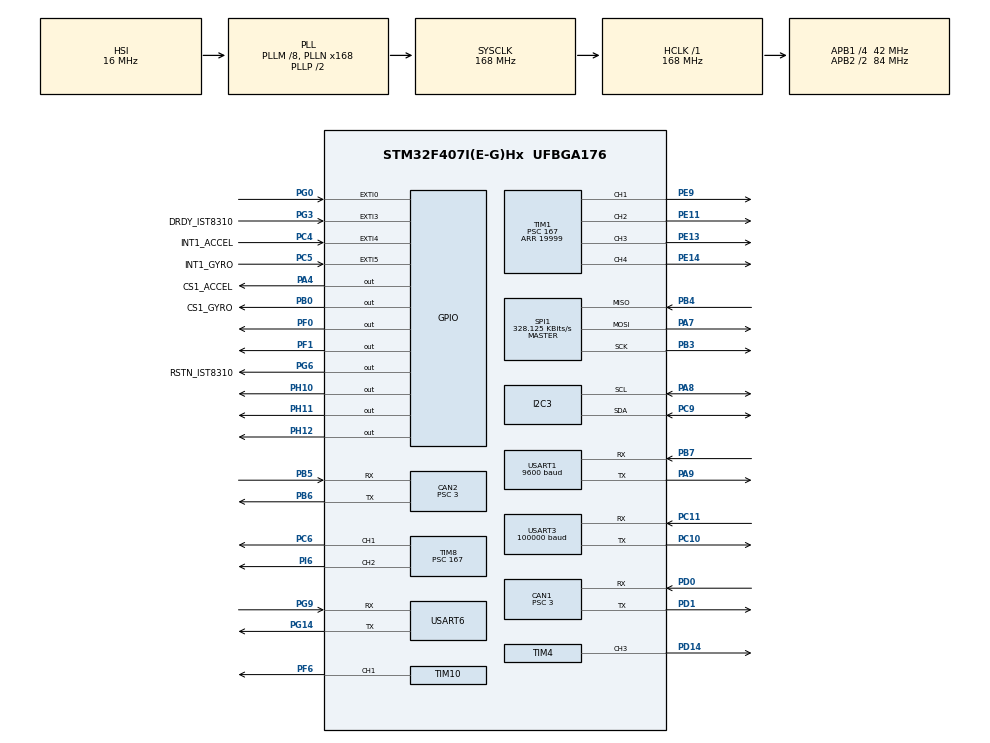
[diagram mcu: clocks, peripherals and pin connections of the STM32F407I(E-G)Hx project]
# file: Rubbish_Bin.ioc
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CAN1.BS1=CAN_BS1_10TQ
CAN1.BS2=CAN_BS2_3TQ
CAN1.CalculateBaudRate=1000000
CAN1.CalculateTimeBit=1000
CAN1.CalculateTimeQuantum=71.42857142857143
CAN1.Prescaler=3
CAN2.BS1=CAN_BS1_10TQ
CAN2.BS2=CAN_BS2_3TQ
CAN2.CalculateBaudRate=1000000
CAN2.CalculateTimeBit=1000
CAN2.CalculateTimeQuantum=71.42857142857143
CAN2.Prescaler=3
Dma.Request0=SPI1_RX
Dma.Request1=SPI1_TX
Dma.Request2=USART1_TX
Dma.Request3=USART3_RX
Dma.Request4=USART6_RX
Dma.SPI1_RX.0.Direction=DMA_PERIPH_TO_MEMORY
Dma.SPI1_RX.0.FIFOMode=DMA_FIFOMODE_DISABLE
Dma.SPI1_RX.0.Instance=DMA2_Stream2
Dma.SPI1_RX.0.MemDataAlignment=DMA_MDATAALIGN_BYTE
Dma.SPI1_RX.0.MemInc=DMA_MINC_ENABLE
Dma.SPI1_RX.0.Mode=DMA_NORMAL
Dma.SPI1_RX.0.PeriphDataAlignment=DMA_PDATAALIGN_BYTE
Dma.SPI1_RX.0.PeriphInc=DMA_PINC_DISABLE
Dma.SPI1_RX.0.Priority=DMA_PRIORITY_VERY_HIGH
Dma.SPI1_TX.1.Direction=DMA_MEMORY_TO_PERIPH
Dma.SPI1_TX.1.FIFOMode=DMA_FIFOMODE_DISABLE
Dma.SPI1_TX.1.Instance=DMA2_Stream3
Dma.SPI1_TX.1.MemDataAlignment=DMA_MDATAALIGN_BYTE
Dma.SPI1_TX.1.MemInc=DMA_MINC_ENABLE
Dma.SPI1_TX.1.Mode=DMA_NORMAL
Dma.SPI1_TX.1.PeriphDataAlignment=DMA_PDATAALIGN_BYTE
Dma.SPI1_TX.1.PeriphInc=DMA_PINC_DISABLE
Dma.SPI1_TX.1.Priority=DMA_PRIORITY_HIGH
Dma.USART1_TX.2.Direction=DMA_MEMORY_TO_PERIPH
Dma.USART1_TX.2.FIFOMode=DMA_FIFOMODE_DISABLE
Dma.USART1_TX.2.Instance=DMA2_Stream7
Dma.USART1_TX.2.MemDataAlignment=DMA_MDATAALIGN_BYTE
Dma.USART1_TX.2.MemInc=DMA_MINC_ENABLE
Dma.USART1_TX.2.Mode=DMA_NORMAL
Dma.USART1_TX.2.PeriphDataAlignment=DMA_PDATAALIGN_BYTE
Dma.USART1_TX.2.PeriphInc=DMA_PINC_DISABLE
Dma.USART1_TX.2.Priority=DMA_PRIORITY_VERY_HIGH
Dma.USART3_RX.3.Direction=DMA_PERIPH_TO_MEMORY
Dma.USART3_RX.3.FIFOMode=DMA_FIFOMODE_DISABLE
Dma.USART3_RX.3.Instance=DMA1_Stream1
Dma.USART3_RX.3.MemDataAlignment=DMA_MDATAALIGN_BYTE
Dma.USART3_RX.3.MemInc=DMA_MINC_ENABLE
Dma.USART3_RX.3.Mode=DMA_CIRCULAR
Dma.USART3_RX.3.PeriphDataAlignment=DMA_PDATAALIGN_BYTE
Dma.USART3_RX.3.PeriphInc=DMA_PINC_DISABLE
Dma.USART3_RX.3.Priority=DMA_PRIORITY_VERY_HIGH
Dma.USART6_RX.4.Direction=DMA_PERIPH_TO_MEMORY
Dma.USART6_RX.4.FIFOMode=DMA_FIFOMODE_DISABLE
Dma.USART6_RX.4.Instance=DMA2_Stream1
Dma.USART6_RX.4.MemDataAlignment=DMA_MDATAALIGN_BYTE
Dma.USART6_RX.4.MemInc=DMA_MINC_ENABLE
Dma.USART6_RX.4.Mode=DMA_NORMAL
Dma.USART6_RX.4.PeriphDataAlignment=DMA_PDATAALIGN_BYTE
Dma.USART6_RX.4.PeriphInc=DMA_PINC_DISABLE
Dma.USART6_RX.4.Priority=DMA_PRIORITY_HIGH
FREERTOS.INCLUDE_eTaskGetState=1
FREERTOS.INCLUDE_pcTaskGetTaskName=1
FREERTOS.INCLUDE_uxTaskGetStackHighWaterMark=1
FREERTOS.INCLUDE_vTaskCleanUpResources=1
FREERTOS.INCLUDE_vTaskDelayUntil=1
FREERTOS.INCLUDE_xEventGroupSetBitFromISR=1
FREERTOS.INCLUDE_xQueueGetMutexHolder=1
FREERTOS.INCLUDE_xSemaphoreGetMutexHolder=1
FREERTOS.INCLUDE_xTaskAbortDelay=1
FREERTOS.INCLUDE_xTaskGetCurrentTaskHandle=1
FREERTOS.INCLUDE_xTaskGetHandle=1
FREERTOS.INCLUDE_xTimerPendFunctionCall=1
FREERTOS.Tasks01=defaultTask,0,128,StartDefaultTask,Default,NULL,Dynamic,NULL,NULL
FREERTOS.configTOTAL_HEAP_SIZE=24576
FREERTOS.configUSE_TIMERS=1
I2C3.I2C_Mode=I2C_Fast
Mcu.Family=STM32F4
Mcu.Name=STM32F407I(E-G)Hx
Mcu.Package=UFBGA176
NVIC.CAN1_RX0_IRQn=true\:5\:0\:false\:false\:true\:true\:true\:true\:true
NVIC.CAN2_RX0_IRQn=true\:5\:0\:false\:false\:true\:true\:true\:true\:true
NVIC.DMA1_Stream1_IRQn=true\:5\:0\:false\:false\:true\:true\:false\:true\:true
NVIC.DMA2_Stream1_IRQn=true\:5\:0\:false\:false\:true\:true\:false\:true\:true
NVIC.DMA2_Stream2_IRQn=true\:5\:0\:true\:false\:true\:true\:false\:true\:true
NVIC.DMA2_Stream3_IRQn=true\:5\:0\:false\:false\:true\:true\:false\:true\:true
NVIC.DMA2_Stream7_IRQn=true\:5\:0\:false\:false\:true\:true\:false\:true\:true
NVIC.EXTI0_IRQn=true\:5\:0\:false\:false\:true\:true\:true\:true\:true
NVIC.EXTI3_IRQn=true\:5\:0\:false\:false\:true\:true\:true\:true\:true
NVIC.EXTI4_IRQn=true\:5\:0\:false\:false\:true\:true\:true\:true\:true
NVIC.EXTI9_5_IRQn=true\:5\:0\:false\:false\:true\:true\:true\:true\:true
NVIC.PriorityGroup=NVIC_PRIORITYGROUP_4
NVIC.USART1_IRQn=true\:5\:0\:false\:false\:true\:true\:true\:true\:true
NVIC.USART3_IRQn=true\:5\:0\:false\:false\:true\:true\:true\:true\:true
NVIC.USART6_IRQn=true\:5\:0\:false\:false\:true\:true\:true\:true\:true
PA13.Mode=Serial_Wire
PA13.Signal=SYS_JTMS-SWDIO
PA14.Mode=Serial_Wire
PA14.Signal=SYS_JTCK-SWCLK
PA4.GPIO_Label=CS1_ACCEL
PA4.GPIO_Speed=GPIO_SPEED_FREQ_HIGH
PA4.PinState=GPIO_PIN_SET
PA4.Signal=GPIO_Output
PA7.Mode=Full_Duplex_Master
PA7.Signal=SPI1_MOSI
PA8.GPIO_Pu=GPIO_PULLUP
PA8.Mode=I2C
PA8.Signal=I2C3_SCL
PA9.Mode=Asynchronous
PA9.Signal=USART1_TX
PB0.GPIO_Label=CS1_GYRO
PB0.GPIO_Speed=GPIO_SPEED_FREQ_HIGH
PB0.PinState=GPIO_PIN_SET
PB0.Signal=GPIO_Output
PB3.Mode=Full_Duplex_Master
PB3.Signal=SPI1_SCK
PB4.Mode=Full_Duplex_Master
PB4.Signal=SPI1_MISO
PB5.Mode=CAN_Activate
PB5.Signal=CAN2_RX
PB6.Mode=CAN_Activate
PB6.Signal=CAN2_TX
PB7.Mode=Asynchronous
PB7.Signal=USART1_RX
PC10.Mode=Asynchronous
PC10.Signal=USART3_TX
PC11.Mode=Asynchronous
PC11.Signal=USART3_RX
PC4.GPIO_Label=INT1_ACCEL
PC4.Signal=GPXTI4
PC5.GPIO_Label=INT1_GYRO
PC5.Signal=GPXTI5
PC6.Signal=S_TIM8_CH1
PC9.GPIO_Pu=GPIO_PULLUP
PC9.Mode=I2C
PC9.Signal=I2C3_SDA
PD0.Mode=CAN_Activate
PD0.Signal=CAN1_RX
PD1.Mode=CAN_Activate
PD1.Signal=CAN1_TX
PD14.GPIO_Speed=GPIO_SPEED_FREQ_HIGH
PD14.Signal=S_TIM4_CH3
PE11.Signal=S_TIM1_CH2
PE13.Signal=S_TIM1_CH3
PE14.Signal=S_TIM1_CH4
PE9.Signal=S_TIM1_CH1
PF0.Signal=GPIO_Output
PF1.Signal=GPIO_Output
PF6.Signal=S_TIM10_CH1
PG0.Signal=GPXTI0
PG14.Mode=Asynchronous
PG14.Signal=USART6_TX
PG3.GPIO_Label=DRDY_IST8310
PG3.Signal=GPXTI3
PG6.GPIO_Label=RSTN_IST8310
PG6.Signal=GPIO_Output
PG9.Mode=Asynchronous
PG9.Signal=USART6_RX
PH0-OSC_IN.Mode=HSE-External-Oscillator
PH0-OSC_IN.Signal=RCC_OSC_IN
PH1-OSC_OUT.Mode=HSE-External-Oscillator
PH1-OSC_OUT.Signal=RCC_OSC_OUT
PH10.Signal=GPIO_Output
PH11.Signal=GPIO_Output
PH12.Signal=GPIO_Output
PI6.Signal=S_TIM8_CH2
ProjectManager.HeapSize=0x200
ProjectManager.StackSize=0x400
ProjectManager.TargetToolchain=MDK-ARM V5.32
RCC.48MHZClocksFreq_Value=84000000
RCC.AHBFreq_Value=168000000
RCC.APB1CLKDivider=RCC_HCLK_DIV4
RCC.APB1Freq_Value=42000000
RCC.APB1TimFreq_Value=84000000
RCC.APB2CLKDivider=RCC_HCLK_DIV2
RCC.APB2Freq_Value=84000000
RCC.APB2TimFreq_Value=168000000
RCC.CortexFreq_Value=168000000
RCC.HCLKFreq_Value=168000000
RCC.HSE_VALUE=25000000
RCC.HSI_VALUE=16000000
RCC.LSE_VALUE=32768
RCC.PLLM=8
RCC.PLLN=168
RCC.SYSCLKFreq_VALUE=168000000
RCC.SYSCLKSource=RCC_SYSCLKSOURCE_PLLCLK
RCC.VCOOutputFreq_Value=336000000
SH.S_TIM10_CH1.0=TIM10_CH1,PWM Generation1 CH1
SH.S_TIM1_CH1.0=TIM1_CH1,PWM Generation1 CH1
SH.S_TIM1_CH2.0=TIM1_CH2,PWM Generation2 CH2
SH.S_TIM1_CH3.0=TIM1_CH3,PWM Generation3 CH3
SH.S_TIM1_CH4.0=TIM1_CH4,PWM Generation4 CH4
SH.S_TIM4_CH3.0=TIM4_CH3,PWM Generation3 CH3
SH.S_TIM8_CH1.0=TIM8_CH1,PWM Generation1 CH1
SH.S_TIM8_CH2.0=TIM8_CH2,PWM Generation2 CH2
SPI1.BaudRatePrescaler=SPI_BAUDRATEPRESCALER_256
SPI1.CLKPhase=SPI_PHASE_2EDGE
SPI1.CLKPolarity=SPI_POLARITY_HIGH
SPI1.CalculateBaudRate=328.125 KBits/s
SPI1.Direction=SPI_DIRECTION_2LINES
SPI1.Mode=SPI_MODE_MASTER
SPI1.VirtualType=VM_MASTER
TIM1.AutoReloadPreload=TIM_AUTORELOAD_PRELOAD_ENABLE
TIM1.Channel-PWM\ Generation1\ CH1=TIM_CHANNEL_1
TIM1.Channel-PWM\ Generation2\ CH2=TIM_CHANNEL_2
TIM1.Channel-PWM\ Generation3\ CH3=TIM_CHANNEL_3
TIM1.Channel-PWM\ Generation4\ CH4=TIM_CHANNEL_4
TIM1.Period=19999
TIM1.Prescaler=167
TIM10.Channel=TIM_CHANNEL_1
TIM10.Period=4999
TIM4.Channel-PWM\ Generation3\ CH3=TIM_CHANNEL_3
TIM4.Prescaler=3
TIM8.AutoReloadPreload=TIM_AUTORELOAD_PRELOAD_ENABLE
TIM8.Channel-PWM\ Generation1\ CH1=TIM_CHANNEL_1
TIM8.Channel-PWM\ Generation2\ CH2=TIM_CHANNEL_2
TIM8.Period=19999
TIM8.Prescaler=167
USART1.BaudRate=9600
USART1.VirtualMode=VM_ASYNC
USART3.BaudRate=100000
USART3.VirtualMode=VM_ASYNC
USART6.VirtualMode=VM_ASYNC
VP_FREERTOS_VS_CMSIS_V1.Mode=CMSIS_V1
VP_TIM10_VS_ClockSourceINT.Mode=Enable_Timer
VP_TIM1_VS_ClockSourceINT.Mode=Internal
VP_TIM4_VS_ClockSourceINT.Mode=Internal
VP_TIM8_VS_ClockSourceINT.Mode=Internal
board=custom

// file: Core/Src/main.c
/* USER CODE BEGIN Header */
/**
  ******************************************************************************
  * @file           : main.c
  * @brief          : Main program body
  ******************************************************************************
  * @attention
  *
  * Copyright (c) 2023 STMicroelectronics.
  * All rights reserved.
  *
  * This software is licensed under terms that can be found in the LICENSE file
  * in the root directory of this software component.
  * If no LICENSE file comes with this software, it is provided AS-IS.
  *
  ******************************************************************************
  */
/* USER CODE END Header */
#include "main.h"
#include "cmsis_os.h"
#include "can.h"
#include "dma.h"
#include "i2c.h"
#include "spi.h"
#include "tim.h"
#include "usart.h"
#include "gpio.h"

/* USER CODE BEGIN Includes */
#include "bsp_delay.h"

/* USER CODE END Includes */

void SystemClock_Config(void);
void MX_FREERTOS_Init(void);

int main(void)
{

  /* MCU Configuration--------------------------------------------------------*/

  /* Reset of all peripherals, Initializes the Flash interface and the Systick. */
  HAL_Init();

  /* Configure the system clock */
  SystemClock_Config();

  /* Initialize all configured peripherals */
  MX_GPIO_Init();
  MX_DMA_Init();
  MX_CAN1_Init();
  MX_CAN2_Init();
  MX_SPI1_Init();
  MX_USART3_UART_Init();
  MX_TIM10_Init();
  MX_I2C3_Init();
  MX_USART1_UART_Init();
  MX_TIM4_Init();
  MX_USART6_UART_Init();
  MX_TIM1_Init();
  MX_TIM8_Init();
  /* USER CODE BEGIN 2 */
  delay_init();
  can_filter_init();

  usart_init();
  HAL_GPIO_WritePin(GPIOF, GPIO_PIN_0, GPIO_PIN_RESET);
  HAL_GPIO_WritePin(GPIOF, GPIO_PIN_1, GPIO_PIN_RESET);
  HAL_UART_Receive_IT(&huart1,&Rx_buffer,1);

    HAL_TIM_PWM_Start(&htim4, TIM_CHANNEL_3);
	HAL_TIM_PWM_Start(&htim1, TIM_CHANNEL_1);
	HAL_TIM_PWM_Start(&htim1, TIM_CHANNEL_2);
	HAL_TIM_PWM_Start(&htim1, TIM_CHANNEL_3);
	HAL_TIM_PWM_Start(&htim1, TIM_CHANNEL_4);
	HAL_TIM_PWM_Start(&htim8, TIM_CHANNEL_1);
	HAL_TIM_PWM_Start(&htim8, TIM_CHANNEL_2);

  /* USER CODE END 2 */

  /* Call init function for freertos objects (in freertos.c) */
  MX_FREERTOS_Init();

  /* Start scheduler */
  osKernelStart();

  /* We should never get here as control is now taken by the scheduler */
  /* Infinite loop */
  while (1)
  {

  }
}

void SystemClock_Config(void)
{
  RCC_OscInitTypeDef RCC_OscInitStruct = {0};
  RCC_ClkInitTypeDef RCC_ClkInitStruct = {0};

  /** Configure the main internal regulator output voltage
  */
  __HAL_RCC_PWR_CLK_ENABLE();
  __HAL_PWR_VOLTAGESCALING_CONFIG(PWR_REGULATOR_VOLTAGE_SCALE1);

  /** Initializes the RCC Oscillators according to the specified parameters
  * in the RCC_OscInitTypeDef structure.
  */
  RCC_OscInitStruct.OscillatorType = RCC_OSCILLATORTYPE_HSI;
  RCC_OscInitStruct.HSIState = RCC_HSI_ON;
  RCC_OscInitStruct.HSICalibrationValue = RCC_HSICALIBRATION_DEFAULT;
  RCC_OscInitStruct.PLL.PLLState = RCC_PLL_ON;
  RCC_OscInitStruct.PLL.PLLSource = RCC_PLLSOURCE_HSI;
  RCC_OscInitStruct.PLL.PLLM = 8;
  RCC_OscInitStruct.PLL.PLLN = 168;
  RCC_OscInitStruct.PLL.PLLP = RCC_PLLP_DIV2;
  RCC_OscInitStruct.PLL.PLLQ = 4;
  if (HAL_RCC_OscConfig(&RCC_OscInitStruct) != HAL_OK)
  {
    Error_Handler();
  }

  /** Initializes the CPU, AHB and APB buses clocks
  */
  RCC_ClkInitStruct.ClockType = RCC_CLOCKTYPE_HCLK|RCC_CLOCKTYPE_SYSCLK
                              |RCC_CLOCKTYPE_PCLK1|RCC_CLOCKTYPE_PCLK2;
  RCC_ClkInitStruct.SYSCLKSource = RCC_SYSCLKSOURCE_PLLCLK;
  RCC_ClkInitStruct.AHBCLKDivider = RCC_SYSCLK_DIV1;
  RCC_ClkInitStruct.APB1CLKDivider = RCC_HCLK_DIV4;
  RCC_ClkInitStruct.APB2CLKDivider = RCC_HCLK_DIV2;

  if (HAL_RCC_ClockConfig(&RCC_ClkInitStruct, FLASH_LATENCY_5) != HAL_OK)
  {
    Error_Handler();
  }
}

void Error_Handler(void)
{
  __disable_irq();
  while (1)
  {
  }
}

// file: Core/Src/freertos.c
/* USER CODE BEGIN Header */
/**
  ******************************************************************************
  * File Name          : freertos.c
  * Description        : Code for freertos applications
  ******************************************************************************
  * @attention
  *
  * Copyright (c) 2023 STMicroelectronics.
  * All rights reserved.
  *
  * This software is licensed under terms that can be found in the LICENSE file
  * in the root directory of this software component.
  * If no LICENSE file comes with this software, it is provided AS-IS.
  *
  ******************************************************************************
  */
/* USER CODE END Header */

#include "FreeRTOS.h"
#include "task.h"
#include "main.h"
#include "cmsis_os.h"

/* USER CODE BEGIN Includes */
#include "INS_task.h"
#include "Chassis_task.h"
#include "Calc_yaw_task.h"
#include "Buzzer_task.h"
#include "Teach_task.h"
#include "Altitude_control_task.h"
#include "Detect_task.h"
/* USER CODE END Includes */

/* USER CODE BEGIN PTD */
osThreadId imuTaskHandle;
osThreadId chassisTaskHandle;
osThreadId yawTaskHandle;
osThreadId buzzerTaskHandle;
osThreadId teachTaskHandle;
osThreadId altitudeTaskHandle;
osThreadId detectTaskHandle;
/* USER CODE END PTD */

//osThreadId defaultTaskHandle;

void StartDefaultTask(void const * argument);

void MX_FREERTOS_Init(void); /* (MISRA C 2004 rule 8.1) */

/* GetIdleTaskMemory prototype (linked to static allocation support) */
void vApplicationGetIdleTaskMemory( StaticTask_t **ppxIdleTaskTCBBuffer, StackType_t **ppxIdleTaskStackBuffer, uint32_t *pulIdleTaskStackSize );

/* GetTimerTaskMemory prototype (linked to static allocation support) */
void vApplicationGetTimerTaskMemory( StaticTask_t **ppxTimerTaskTCBBuffer, StackType_t **ppxTimerTaskStackBuffer, uint32_t *pulTimerTaskStackSize );

/* USER CODE BEGIN GET_IDLE_TASK_MEMORY */
static StaticTask_t xIdleTaskTCBBuffer;
static StackType_t xIdleStack[configMINIMAL_STACK_SIZE];

void vApplicationGetIdleTaskMemory( StaticTask_t **ppxIdleTaskTCBBuffer, StackType_t **ppxIdleTaskStackBuffer, uint32_t *pulIdleTaskStackSize )
{
  *ppxIdleTaskTCBBuffer = &xIdleTaskTCBBuffer;
  *ppxIdleTaskStackBuffer = &xIdleStack[0];
  *pulIdleTaskStackSize = configMINIMAL_STACK_SIZE;
  /* place for user code */
}
/* USER CODE END GET_IDLE_TASK_MEMORY */

/* USER CODE BEGIN GET_TIMER_TASK_MEMORY */
static StaticTask_t xTimerTaskTCBBuffer;
static StackType_t xTimerStack[configTIMER_TASK_STACK_DEPTH];

void vApplicationGetTimerTaskMemory( StaticTask_t **ppxTimerTaskTCBBuffer, StackType_t **ppxTimerTaskStackBuffer, uint32_t *pulTimerTaskStackSize )
{
  *ppxTimerTaskTCBBuffer = &xTimerTaskTCBBuffer;
  *ppxTimerTaskStackBuffer = &xTimerStack[0];
  *pulTimerTaskStackSize = configTIMER_TASK_STACK_DEPTH;
  /* place for user code */
}
/* USER CODE END GET_TIMER_TASK_MEMORY */

void MX_FREERTOS_Init(void) {

  /* Create the thread(s) */
  /* definition and creation of defaultTask */
//  osThreadDef(defaultTask, StartDefaultTask, osPriorityNormal, 0, 128);
//  defaultTaskHandle = osThreadCreate(osThread(defaultTask), NULL);

  /* USER CODE BEGIN RTOS_THREADS */
  /* add threads, ... */

    osThreadDef(imuTask, INS_task, osPriorityRealtime, 0, 1024);
    imuTaskHandle = osThreadCreate(osThread(imuTask), NULL);
    osThreadDef(chassisTask, Chassis_task, osPriorityRealtime, 0, 512);
    chassisTaskHandle = osThreadCreate(osThread(chassisTask), NULL);
     osThreadDef(yawTask, Calc_yaw_task, osPriorityRealtime, 0, 128);
    yawTaskHandle = osThreadCreate(osThread(yawTask), NULL);
     osThreadDef(buzzerTask, Buzzer_task, osPriorityRealtime, 0, 128);
    buzzerTaskHandle = osThreadCreate(osThread(buzzerTask), NULL);
	osThreadDef(teachTask, Teach_task, osPriorityRealtime, 0, 512);
    teachTaskHandle = osThreadCreate(osThread(teachTask), NULL);
	osThreadDef(altitudeTask,Altitude_control_task, osPriorityRealtime, 0, 128);
	altitudeTaskHandle=osThreadCreate(osThread(altitudeTask),NULL);
	osThreadDef(detectTask,Detect_task, osPriorityRealtime, 0, 128);
	altitudeTaskHandle=osThreadCreate(osThread(detectTask),NULL);

  /* USER CODE END RTOS_THREADS */

}

//void StartDefaultTask(void const * argument)
//{
//  /* USER CODE BEGIN StartDefaultTask */
////  /* Infinite loop */
////  for(;;)
////  {
////    osDelay(1);
////  }
//  /* USER CODE END StartDefaultTask */
//}
